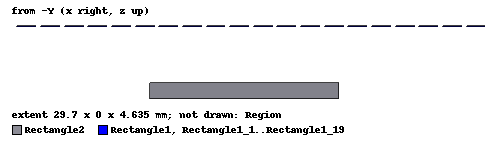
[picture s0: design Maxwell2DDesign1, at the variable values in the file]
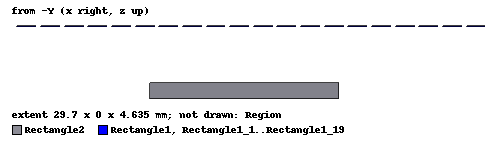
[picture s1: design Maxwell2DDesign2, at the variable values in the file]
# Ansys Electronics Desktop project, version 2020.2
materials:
  vacuum: permittivity=1
  copper: permeability=0.999991 conductivity=58000000
  ferrite: permittivity=12 permeability=1000 conductivity=0.01

design Maxwell2DDesign1 (Maxwell 2D, Magnetostatic, about Z geometry, model units mm)
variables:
  oz = 35um
  r_inner = 20mm
  cl = 1.2mm
  pcb = 1.6mm
  airgap1 = 2mm
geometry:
  Rectangle1 [copper] = rectangle(corner=(r_inner, 0mm, -oz), z_size=2*oz, x_size=cl)
  Rectangle1_1..Rectangle1_19 [copper] = Rectangle1.duplicate_along_line(step=(1.5mm, 0mm, 0mm), total=20)
  Region [vacuum] = region(+X=70mm absolute offset, -X=70mm absolute offset, +Y=0 percentage offset, -Y=0 percentage offset, +Z=70mm absolute offset, -Z=70mm absolute offset)
  Rectangle2 [ferrite] = rectangle(corner=(r_inner+7*cl, 0mm, -pcb-airgap1), z_size=-1mm, x_size=10*cl)
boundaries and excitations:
  VectorPotential1: Vector Potential Edges=Region.edge(2 of 4, 3 of 4, 4 of 4) Value=0
  Current_1: Current Objects=Rectangle1 Current=5A IsPositive=true
  Current_2: Current Objects=Rectangle1_1 Current=5A IsPositive=true
  Current_3: Current Objects=Rectangle1_2 Current=5A IsPositive=true
  Current_4: Current Objects=Rectangle1_3 Current=5A IsPositive=true
  Current_5: Current Objects=Rectangle1_4 Current=5A IsPositive=true
  Current_6: Current Objects=Rectangle1_5 Current=5A IsPositive=true
  Current_7: Current Objects=Rectangle1_6 Current=5A IsPositive=true
  Current_8: Current Objects=Rectangle1_7 Current=5A IsPositive=true
  Current_9: Current Objects=Rectangle1_8 Current=5A IsPositive=true
  Current_10: Current Objects=Rectangle1_9 Current=5A IsPositive=true
  Current_11: Current Objects=Rectangle1_10 Current=5A IsPositive=false
  Current_12: Current Objects=Rectangle1_11 Current=5A IsPositive=false
  Current_13: Current Objects=Rectangle1_12 Current=5A IsPositive=false
  Current_14: Current Objects=Rectangle1_13 Current=5A IsPositive=false
  Current_15: Current Objects=Rectangle1_14 Current=5A IsPositive=false
  Current_16: Current Objects=Rectangle1_15 Current=5A IsPositive=false
  Current_17: Current Objects=Rectangle1_16 Current=5A IsPositive=false
  Current_18: Current Objects=Rectangle1_17 Current=5A IsPositive=false
  Current_19: Current Objects=Rectangle1_18 Current=5A IsPositive=false
  Current_20: Current Objects=Rectangle1_19 Current=5A IsPositive=false
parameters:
  Matrix1: Matrix Current_1..Current_20: NumberOfTurns=1; group inner = Current_1..Current_10 (1 parallel); group outer = Current_11..Current_20 (1 parallel)
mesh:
  initial mesh: MeshMethod=AnsoftTAU
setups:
  Setup1: Magnetostatic MaximumPasses=10 MinimumPasses=2 MinimumConvergedPasses=1 PercentRefinement=30 PercentError=1 ConstantDelta=0s NonLinearResidual=0.0001

design Maxwell2DDesign2 (Maxwell 2D, EddyCurrent, about Z geometry, model units mm)
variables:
  oz = 35um
  r_inner = 20mm
  cl = 1.2mm
  pcb = 1.6mm
  airgap1 = 2mm
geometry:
  Rectangle1 [copper] = rectangle(corner=(r_inner, 0mm, -oz), z_size=2*oz, x_size=cl)
  Rectangle1_1..Rectangle1_19 [copper] = Rectangle1.duplicate_along_line(step=(1.5mm, 0mm, 0mm), total=20)
  Region [vacuum] = region(+X=70mm absolute offset, -X=70mm absolute offset, +Y=0 percentage offset, -Y=0 percentage offset, +Z=70mm absolute offset, -Z=70mm absolute offset)
  Rectangle2 [ferrite] = rectangle(corner=(r_inner+7*cl, 0mm, -pcb-airgap1), z_size=-1mm, x_size=10*cl)
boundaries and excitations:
  VectorPotential1: Vector Potential Edges=Region.edge(2 of 4, 3 of 4, 4 of 4) Phase=0deg Value=0
  Current_1: Current Objects=Rectangle1 Phase=0deg Current=5A IsSolid=true IsPositive=true
  Current_2: Current Objects=Rectangle1_1 Phase=0deg Current=5A IsSolid=true IsPositive=true
  Current_3: Current Objects=Rectangle1_2 Phase=0deg Current=5A IsSolid=true IsPositive=true
  Current_4: Current Objects=Rectangle1_3 Phase=0deg Current=5A IsSolid=true IsPositive=true
  Current_5: Current Objects=Rectangle1_4 Phase=0deg Current=5A IsSolid=true IsPositive=true
  Current_6: Current Objects=Rectangle1_5 Phase=0deg Current=5A IsSolid=true IsPositive=true
  Current_7: Current Objects=Rectangle1_6 Phase=0deg Current=5A IsSolid=true IsPositive=true
  Current_8: Current Objects=Rectangle1_7 Phase=0deg Current=5A IsSolid=true IsPositive=true
  Current_9: Current Objects=Rectangle1_8 Phase=0deg Current=5A IsSolid=true IsPositive=true
  Current_10: Current Objects=Rectangle1_9 Phase=0deg Current=5A IsSolid=true IsPositive=true
  Current_11: Current Objects=Rectangle1_10 Phase=0deg Current=5A IsSolid=true IsPositive=false
  Current_12: Current Objects=Rectangle1_11 Phase=0deg Current=5A IsSolid=true IsPositive=false
  Current_13: Current Objects=Rectangle1_12 Phase=0deg Current=5A IsSolid=true IsPositive=false
  Current_14: Current Objects=Rectangle1_13 Phase=0deg Current=5A IsSolid=true IsPositive=false
  Current_15: Current Objects=Rectangle1_14 Phase=0deg Current=5A IsSolid=true IsPositive=false
  Current_16: Current Objects=Rectangle1_15 Phase=0deg Current=5A IsSolid=true IsPositive=false
  Current_17: Current Objects=Rectangle1_16 Phase=0deg Current=5A IsSolid=true IsPositive=false
  Current_18: Current Objects=Rectangle1_17 Phase=0deg Current=5A IsSolid=true IsPositive=false
  Current_19: Current Objects=Rectangle1_18 Phase=0deg Current=5A IsSolid=true IsPositive=false
  Current_20: Current Objects=Rectangle1_19 Phase=0deg Current=5A IsSolid=true IsPositive=false
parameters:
  Matrix1: Matrix Current_1..Current_20:
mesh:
  initial mesh: MeshMethod=AnsoftTAU
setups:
  Setup1: EddyCurrent MaximumPasses=10 MinimumPasses=2 MinimumConvergedPasses=1 PercentRefinement=30 PercentError=1 ConstantDelta=0s NonLinearResidual=0.0001 Frequency=80kHz
